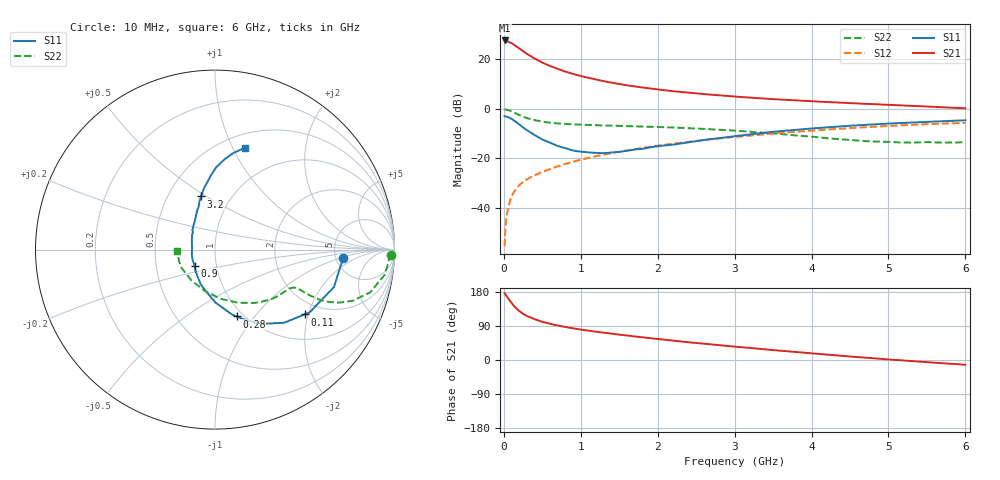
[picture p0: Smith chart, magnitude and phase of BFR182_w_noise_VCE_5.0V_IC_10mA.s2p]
! Infineon Technologies  Discrete & RF Semiconductors
! BFR182
! VCE =  5.0 V,  IC =  10 mA
! Common Emitter S-Parameters:  Nov 2015
# GHz  S  MA  R  50
!  f  S11  S21  S12  S22
! GHz  MAG  ANG  MAG  ANG  MAG  ANG  MAG  ANG
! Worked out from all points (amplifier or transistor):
!   210 points, 10 MHz to 6 GHz, reference 50 ohm
!   highest |S21| = 27.6 dB at 10 MHz (marker M1)
!   |S21| within 3 dB of that: start of sweep to 190 MHz
!   unconditionally stable (mu >= 1): 798.3 MHz to 2.709 GHz
!   at 185 MHz: K = 0.50, MSG = 28.0 dB, |S12| = -31.3 dB
!   at 1.52 GHz: K = 1.05, MAG = 12.2 dB, |S12| = -17.2 dB
!   at 6 GHz: K = 0.89, MSG = 2.9 dB, |S12| = -5.6 dB
!   lowest NFmin = 1.50 dB at 450 MHz
!   S11 on the Smith chart (normalised r, x): 10 MHz: 5.78, -1.09; 110 MHz: 1.63, -1.89; 280 MHz: 0.93, -0.82; 900 MHz: 0.78, -0.14; 3.2 GHz: 0.73, +0.47; 6 GHz: 0.64, +1.12
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0.01  0.714 -3.7  24.06 176.4  0.0017 80.7  0.9808 -1.6
0.02  0.7071 -6.9  23.73 173.1  0.004 86.2  0.9705 -3.5
0.05  0.6947 -17.5  23.14 164.2  0.009 81.8  0.9562 -8.4
0.1  0.6328 -33.5  21.32 150.3  0.0172 75.9  0.8968 -15.4
0.11  0.616 -35.9  20.75 148.1  0.0184 74.6  0.8809 -16.3
0.15  0.5607 -46.6  18.85 138.1  0.0234 70.7  0.8197 -20.3
0.18  0.5146 -53.1  17.46 133.0  0.0267 69.5  0.7799 -21.9
0.24  0.4342 -65.4  15.01 123.3  0.0326 66.9  0.7073 -24.4
0.28  0.3914 -72.1  13.59 118.4  0.0361 66.8  0.6692 -25.2
0.3  0.3726 -75.5  12.92 115.9  0.0379 67.0  0.6516 -25.5
0.4  0.2969 -89.1  10.4 107.6  0.0458 66.3  0.5928 -25.8
0.5  0.2421 -100.9  8.591 100.6  0.0534 67.1  0.5533 -25.6
0.7  0.1789 -122.3  6.41 90.9  0.0694 68.2  0.5086 -25.3
0.9  0.1448 -141.9  5.063 83.5  0.0862 68.3  0.4883 -25.7
1.02  0.1364 -156.5  4.539 79.8  0.0958 68.3  0.4793 -26.3
1.4  0.1323 167.4  3.382 69.5  0.1281 67.4  0.4592 -29.5
2.02  0.1783 132.8  2.45 55.0  0.1827 63.3  0.4322 -37.3
3.1  0.2936 106.2  1.732 33.6  0.2814 53.7  0.3552 -56.7
3.2  0.3063 104.6  1.69 31.8  0.2906 52.6  0.3458 -59.1
4.1  0.4135 93.2  1.404 15.9  0.3742 43.0  0.2656 -87.1
5.1  0.5145 82.9  1.195 0.1  0.4616 30.8  0.2123 -132.5
6  0.5909 73.6  1.028 -12.6  0.5239 18.6  0.214 -177.8
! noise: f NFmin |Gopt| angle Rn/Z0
0.45  1.5  0.26  43  0.28
0.9  1.6  0.24  87  0.22
1.8  2.1  0.2  170  0.2
